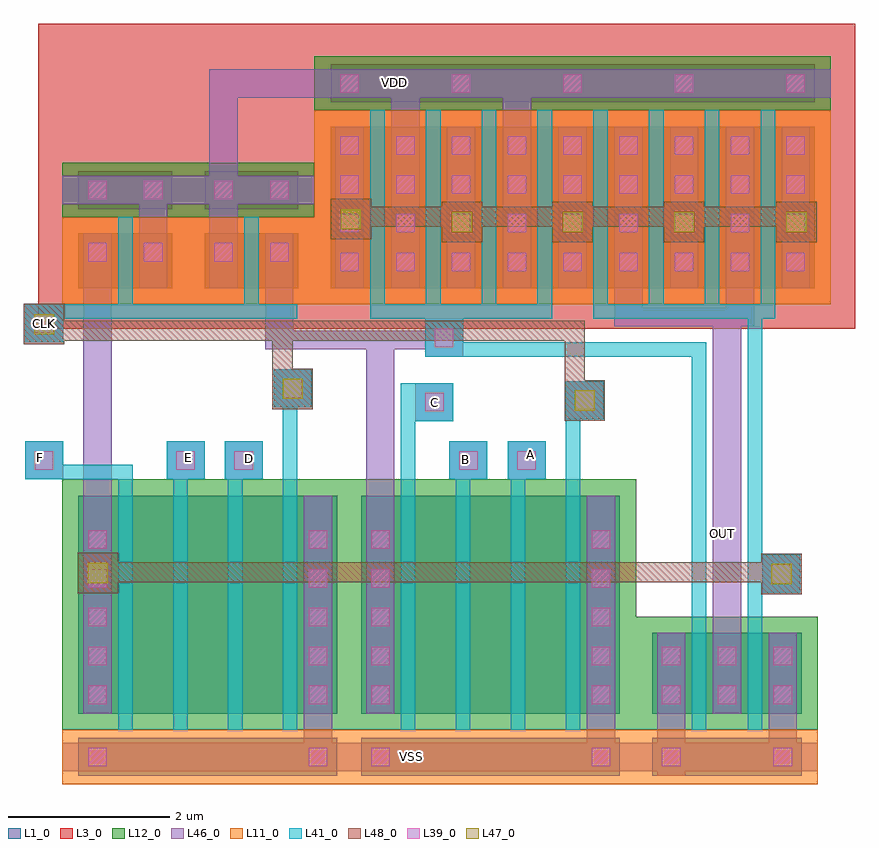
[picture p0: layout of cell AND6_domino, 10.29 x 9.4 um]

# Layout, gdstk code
import gdstk
lib = gdstk.Library(unit=1e-6, precision=1e-09)
def R(c, l, rs):  # rectangles x0, y0, x1, y1
    for r in rs: c.add(gdstk.rectangle(r[:2], r[2:], *l))
def A(c, l, x, y, w, h, nx, ny, dx, dy):  # array of equal rectangles
    R(c, l, [(x+i*dx, y+j*dy, x+i*dx+w, y+j*dy+h) for i in range(nx) for j in range(ny)])
L1_0 = (1, 0)
L3_0 = (3, 0)
L11_0 = (11, 0)
L12_0 = (12, 0)
L39_0 = (39, 0)
L41_0 = (41, 0)
L46_0 = (46, 0)
L47_0 = (47, 0)
L48_0 = (48, 0)

and6_domino = lib.new_cell('AND6_domino')
R(and6_domino, L1_0, [(6.98,-7.195,10.18,-6.725), (10.48,-7.195,13.68,-6.725), (14.08,-7.195,15.93,-6.725), (6.98,-6.425,10.18,-3.725), (10.48,-6.425,13.68,-3.725), (14.08,-6.425,15.93,-5.425), (6.98,-1.16,8.14,-0.48), (8.54,-1.16,9.7,-0.48), (10.1,-1.16,16.09,0.84), (6.98,-0.18,8.14,0.29), (8.54,-0.18,9.7,0.29), (10.1,1.14,16.09,1.61)])
R(and6_domino, L3_0, [(6.48,-1.66,16.59,2.11)])
R(and6_domino, L11_0, [(6.78,-7.295,13.88,-6.625), (13.88,-7.295,16.13,-6.625), (6.78,-1.36,8.34,-0.28), (8.34,-1.36,9.9,-0.28), (9.9,-1.36,16.29,1.04)])
R(and6_domino, L12_0, [(6.78,-6.625,13.88,-3.525), (13.88,-6.625,16.13,-5.225), (6.78,-0.28,8.34,0.39), (8.34,-0.28,9.9,0.39), (9.9,1.04,16.29,1.71)])
A(and6_domino, L39_0, 7.1, -6.305, 0.23, 0.23, 1, 5, 0, 0.48)
A(and6_domino, L39_0, 9.83, -6.305, 0.23, 0.23, 1, 5, 0, 0.48)
A(and6_domino, L39_0, 10.6, -6.305, 0.23, 0.23, 1, 5, 0, 0.48)
A(and6_domino, L39_0, 13.33, -6.305, 0.23, 0.23, 1, 5, 0, 0.48)
A(and6_domino, L39_0, 14.2, -6.305, 0.23, 0.23, 3, 2, 0.69, 0.48)
A(and6_domino, L39_0, 10.22, -0.95, 0.23, 0.23, 9, 4, 0.69, 0.48)
A(and6_domino, L39_0, 10.22, 1.26, 0.23, 0.23, 5, 1, 1.38, 0)
R(and6_domino, L39_0, [(7.1,-7.075,7.33,-6.845), (9.83,-7.075,10.06,-6.845), (10.6,-7.075,10.83,-6.845), (13.33,-7.075,13.56,-6.845), (14.2,-7.075,14.43,-6.845), (15.58,-7.075,15.81,-6.845), (15.56,-4.81,15.79,-4.58), (6.44,-3.405,6.67,-3.175), (8.19,-3.405,8.42,-3.175), (8.91,-3.405,9.14,-3.175), (11.69,-3.405,11.92,-3.175), (12.41,-3.405,12.64,-3.175), (11.27,-2.685,11.5,-2.455), (13.13,-2.66,13.36,-2.43), (9.515,-2.515,9.745,-2.285), (11.39,-1.89,11.62,-1.66), (6.44,-1.71,6.67,-1.48), (7.1,-0.83,7.33,-0.6), (7.79,-0.83,8.02,-0.6), (8.66,-0.83,8.89,-0.6), (9.35,-0.83,9.58,-0.6), (7.1,-0.06,7.33,0.17), (7.79,-0.06,8.02,0.17), (8.66,-0.06,8.89,0.17), (9.35,-0.06,9.58,0.17)])
A(and6_domino, L41_0, 7.47, -6.625, 0.18, 3.1, 3, 1, 0.68, 0)
A(and6_domino, L41_0, 10.59, -1.36, 0.18, 2.4, 8, 1, 0.69, 0)
R(and6_domino, L41_0, [(9.51,-6.625,9.69,-2.635), (10.97,-6.625,11.15,-2.335), (11.65,-6.625,11.83,-3.525), (12.33,-6.625,12.51,-3.525), (13.01,-6.625,13.19,-2.78), (14.57,-6.625,14.75,-1.83), (15.26,-6.625,15.44,-1.54), (15.44,-4.93,15.91,-4.46), (6.32,-3.525,6.79,-3.055), (6.79,-3.525,7.65,-3.345), (8.07,-3.525,8.54,-3.055), (8.79,-3.525,9.26,-3.055), (11.57,-3.525,12.04,-3.055), (12.29,-3.525,12.76,-3.055), (11.15,-2.805,11.62,-2.335), (13.01,-2.78,13.48,-2.31), (9.395,-2.635,9.865,-2.165), (11.27,-2.01,11.74,-1.54), (11.74,-2.01,14.57,-1.83), (6.32,-1.83,6.79,-1.36), (6.79,-1.54,9.69,-1.36), (10.59,-1.54,12.84,-1.36), (13.35,-1.54,15.6,-1.36), (7.47,-1.36,7.65,-0.28), (9.03,-1.36,9.21,-0.28)])
A(and6_domino, L46_0, 10.16, -1.16, 0.35, 2, 5, 1, 1.38, 0)
R(and6_domino, L46_0, [(14.14,-7.195,14.49,-5.425), (6.78,-7.135,13.88,-6.785), (9.77,-7.135,10.12,-3.725), (13.27,-7.135,13.62,-3.725), (13.88,-7.135,16.13,-6.785), (15.52,-7.135,15.87,-5.425), (7.04,-6.425,7.39,-0.48), (10.54,-6.425,10.89,-1.915), (14.83,-6.425,15.18,-1.63), (15.44,-4.93,15.91,-4.46), (6.32,-3.525,6.79,-3.055), (8.07,-3.525,8.54,-3.055), (8.79,-3.525,9.26,-3.055), (11.57,-3.525,12.04,-3.055), (12.29,-3.525,12.76,-3.055), (11.15,-2.805,11.62,-2.335), (13.01,-2.78,13.48,-2.31), (9.395,-2.635,9.865,-2.165), (11.27,-2.01,11.74,-1.54), (9.29,-1.915,11.27,-1.685), (6.32,-1.83,6.79,-1.36), (9.29,-1.685,9.64,-0.48), (13.61,-1.63,15.34,-1.4), (13.61,-1.4,13.96,0.84), (14.99,-1.4,15.34,0.84), (7.73,-1.16,8.08,0.23), (8.6,-1.16,8.95,1.55), (10.85,-1.16,11.2,1.55), (12.23,-1.16,12.58,1.55), (6.78,-0.12,9.9,0.23), (8.95,1.2,16.29,1.55)])
R(and6_domino, L47_0, [(15.555,-4.82,15.805,-4.57), (7.095,-4.81,7.345,-4.56), (13.12,-2.675,13.37,-2.425), (9.505,-2.53,9.755,-2.28), (6.43,-1.73,6.68,-1.48), (11.6,-0.465,11.85,-0.215), (12.97,-0.465,13.22,-0.215), (14.35,-0.465,14.6,-0.215), (15.74,-0.465,15.99,-0.215), (10.225,-0.43,10.475,-0.18)])
R(and6_domino, L48_0, [(15.43,-4.945,15.93,-4.445), (6.97,-4.935,7.47,-4.435), (7.47,-4.8,15.43,-4.55), (12.995,-2.8,13.495,-2.3), (9.38,-2.655,9.88,-2.155), (12.995,-2.3,13.245,-1.56), (9.38,-2.155,9.63,-1.56), (6.305,-1.855,6.805,-1.355), (6.805,-1.81,13.245,-1.56), (11.475,-0.59,11.975,-0.09), (12.845,-0.59,13.345,-0.09), (14.225,-0.59,14.725,-0.09), (15.615,-0.59,16.115,-0.09), (10.1,-0.555,10.6,-0.055), (10.6,-0.4,15.615,-0.15)])
and6_domino.add(gdstk.Label('OUT', (14.955,-4.19), layer=101, texttype=0))
and6_domino.add(gdstk.Label('B', (11.77,-3.28), layer=101, texttype=0))
and6_domino.add(gdstk.Label('A', (12.57,-3.22), layer=101, texttype=0))
and6_domino.add(gdstk.Label('D', (9.095,-3.27), layer=101, texttype=0))
and6_domino.add(gdstk.Label('E', (8.345,-3.26), layer=101, texttype=0))
and6_domino.add(gdstk.Label('C', (11.385,-2.57), layer=101, texttype=0))
and6_domino.add(gdstk.Label('F', (6.515,-3.25), layer=101, texttype=0))
and6_domino.add(gdstk.Label('VSS', (11.105,-6.955), layer=101, texttype=0))
and6_domino.add(gdstk.Label('VDD', (10.885,1.38), layer=101, texttype=0))
and6_domino.add(gdstk.Label('CLK', (6.555,-1.595), layer=102, texttype=0))

lib.write_gds('AND6_domino.gds')
